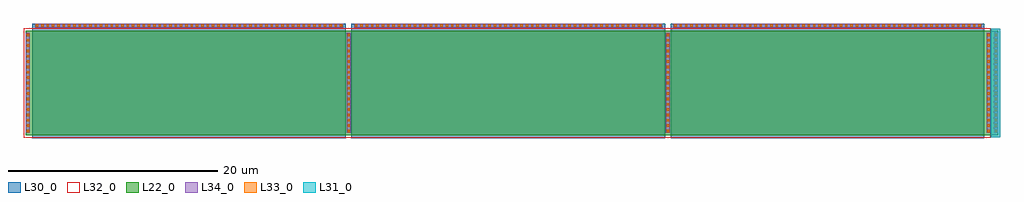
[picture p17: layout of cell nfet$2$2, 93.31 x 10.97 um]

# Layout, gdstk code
import gdstk
lib = gdstk.Library(unit=1e-6, precision=1e-09)
def R(c, l, rs):  # rectangles x0, y0, x1, y1
    for r in rs: c.add(gdstk.rectangle(r[:2], r[2:], *l))
def A(c, l, x, y, w, h, nx, ny, dx, dy):  # array of equal rectangles
    R(c, l, [(x+i*dx, y+j*dy, x+i*dx+w, y+j*dy+h) for i in range(nx) for j in range(ny)])
L22_0 = (22, 0)
L30_0 = (30, 0)
L31_0 = (31, 0)
L32_0 = (32, 0)
L33_0 = (33, 0)
L34_0 = (34, 0)

nfet_2_2 = lib.new_cell('nfet$2$2')
R(nfet_2_2, L22_0, [(-0.42,0,0,10), (0,0,91.42,10), (91.42,0,91.84,10), (91.84,0,92.55,10)])
A(nfet_2_2, L30_0, 0.19, -0.3, 30, 10.6, 3, 1, 30.52, 0)
A(nfet_2_2, L30_0, 0.19, 10.3, 30, 0.36, 3, 1, 30.52, 0)
R(nfet_2_2, L31_0, [(91.84,-0.17,92.72,10.17)])
R(nfet_2_2, L32_0, [(-0.59,-0.24,91.84,10.24)])
A(nfet_2_2, L33_0, -0.32, 0.3, 0.22, 0.22, 1, 19, 0, 0.51)
A(nfet_2_2, L33_0, 30.34, 0.3, 0.22, 0.22, 1, 19, 0, 0.51)
A(nfet_2_2, L33_0, 60.86, 0.3, 0.22, 0.22, 1, 19, 0, 0.51)
A(nfet_2_2, L33_0, 91.52, 0.3, 0.22, 0.22, 1, 19, 0, 0.51)
A(nfet_2_2, L33_0, 92.23, 0.3, 0.22, 0.22, 1, 19, 0, 0.51)
A(nfet_2_2, L33_0, 0.545, 10.37, 0.22, 0.22, 58, 1, 0.51, 0)
A(nfet_2_2, L33_0, 31.065, 10.37, 0.22, 0.22, 58, 1, 0.51, 0)
A(nfet_2_2, L33_0, 61.585, 10.37, 0.22, 0.22, 58, 1, 0.51, 0)
A(nfet_2_2, L34_0, 0.465, 10.29, 29.45, 0.38, 3, 1, 30.52, 0)
R(nfet_2_2, L34_0, [(-0.4,0.22,-0.02,9.78), (30.26,0.22,30.64,9.78), (60.78,0.22,61.16,9.78), (91.44,0.22,91.82,9.78), (92.15,0.22,92.53,9.78)])

lib.write_gds('nfet_2_2.gds')
